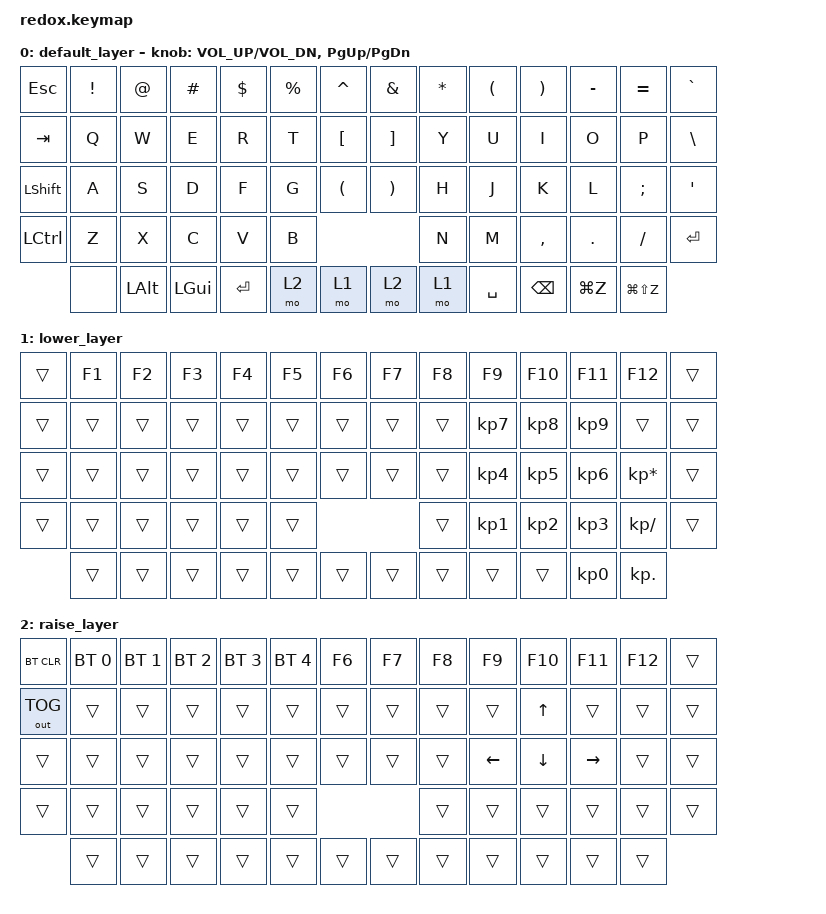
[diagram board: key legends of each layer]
/*
 * Copyright (c) 2021 The ZMK Contributors
 *
 * SPDX-License-Identifier: MIT
 */

#include <behaviors.dtsi>
#include <dt-bindings/zmk/keys.h>
#include <dt-bindings/zmk/bt.h>
#include <dt-bindings/zmk/ext_power.h>
#include <dt-bindings/zmk/outputs.h>

 / {
     keymap {
         compatible = "zmk,keymap";
 
         // TODO: SWAP SHIFTED KEYS SOMEHOW
         default_layer {
 // ------------------------------------------------------------------------------------------------------------
 // |  ESC  |  !  |  @  |   #  |   $   |   %   |   ^   |  |   &   |   *   |  (    |  )    |  -   |   +   |   `   |
 // |  TAB  |  Q  |  W  |   E  |   R   |   T   |   [   |  |   ]   |   Y   |  U    |  I    |  O   |   P   |   \   |
 // | SHIFT |  A  |  S  |   D  |   F   |   G   |   (   |  |   )   |   H   |  J    |  K    |  L   |   ;   |   '   |
 // |  CTRL |  Z  |  X  |   C  |   V   |   B   |       |  |       |   N   |  M    |  ,    |  .   |   /   | ENTER |
 //         | XXX | ALT |  GUI | ENTER | RAISE | LOWER |  | RAISE | LOWER | SPACE | BSPC  | UNDO |   DO  |
 //
             bindings = <
 &kp ESC    &kp EXCL &kp AT   &kp HASH &kp DOLLAR &kp PRCNT &kp CARET          &kp AMPS    &kp ASTRK &kp LPAR  &kp RPAR  &kp MINUS   &kp EQUAL   &kp GRAVE
 &kp TAB    &kp Q    &kp W    &kp E    &kp R      &kp T     &kp LBKT           &kp RBKT    &kp Y     &kp U     &kp I     &kp O       &kp P       &kp BSLH
 &kp LSHFT  &kp A    &kp S    &kp D    &kp F      &kp G     &kp LPAR           &kp RPAR    &kp H     &kp J     &kp K     &kp L       &kp SEMI    &kp SQT
 &kp LCTRL  &kp Z    &kp X    &kp C    &kp V      &kp B                                    &kp N     &kp M     &kp COMMA &kp DOT     &kp FSLH    &kp ENTER
            &none    &kp LALT &kp LGUI &kp ENTER  &mo 2     &mo 1              &mo 2       &mo 1     &kp SPACE &kp BSPC  &kp LG(Z)   &kp LG(LS(Z))
             >;
 
             sensor-bindings = <&inc_dec_kp C_VOL_UP C_VOL_DN &inc_dec_kp PG_UP PG_DN>;
         };
 
         lower_layer {
 // ------------------------------------------------------------------------------------------------------------
 // |       |  F1 | F2  |  F3  |  F4  |  F5  |   F6   |  |       |  F7  |  F8   |  F9   |  F10  |  F11  |  F12  |       |
 // |       |     |     |      |      |      |        |  |       |      |   7   |   8   |   9   |       |       |       |
 // |       |     |     |      |      |      |        |  |       |      |   4   |   5   |   6   |   *   |       |       |
 // |       |     |     |      |      |      |        |  |       |      |   1   |   2   |   3   |   /   |       |       |
 //               |     |      |      |      |        |  |       |      |       |       |       |   0   |   .   |       |
             bindings = <
 &trans    &kp F1    &kp F2    &kp F3    &kp F4    &kp F5    &kp F6          &kp F7   &kp F8     &kp F9    &kp F10   &kp F11   &kp F12         &trans
 &trans    &trans    &trans    &trans    &trans    &trans    &trans          &trans    &trans    &kp KP_N7 &kp KP_N8 &kp KP_N9 &trans          &trans
 &trans    &trans    &trans    &trans    &trans    &trans    &trans          &trans    &trans    &kp KP_N4 &kp KP_N5 &kp KP_N6 &kp KP_MULTIPLY &trans
 &trans    &trans    &trans    &trans    &trans    &trans                              &trans    &kp KP_N1 &kp KP_N2 &kp KP_N3 &kp KP_DIVIDE   &trans
           &trans    &trans    &trans    &trans    &trans    &trans          &trans    &trans    &trans    &trans    &kp KP_N0 &kp KP_DOT
             >;
         };
 
         raise_layer {
 // ------------------------------------------------------------------------------------------------------------
 // |       |  F1 | F2  |  F3  |  F4  |  F5  |   F6   |  |       |  F7  |  F8   |  F9   |  F10 |  F11  |  F12  |
 // |       |     |     |      |      |      |        |  |       |      |   ^   |       |      |       |       |
 // |       |     |     |      |      |      |        |  |       |  <   |   v   |   >   |      |       |       |
 // |       |     |     |      |      |      |        |  |       |      |       |       |      |       |       |
 //               |     |      |      |      |        |  |       |      |       |       |      |       |       |
             bindings = <
 &bt BT_CLR   &bt BT_SEL 0 &bt BT_SEL 1 &bt BT_SEL 2 &bt BT_SEL 3 &bt BT_SEL 4 &kp F6          &kp F7   &kp F8     &kp F9    &kp F10  &kp F11   &kp F12   &trans
 &out OUT_TOG &trans       &trans       &trans       &trans       &trans       &trans          &trans    &trans    &trans    &kp UP   &trans    &trans    &trans
 &trans       &trans       &trans       &trans       &trans       &trans       &trans          &trans    &trans    &kp LEFT  &kp DOWN &kp RIGHT &trans    &trans
 &trans       &trans       &trans       &trans       &trans       &trans                                 &trans    &trans    &trans    &trans    &trans    &trans
              &trans       &trans       &trans       &trans       &trans       &trans          &trans    &trans    &trans    &trans    &trans    &trans
             >;
         };
     };
 };
